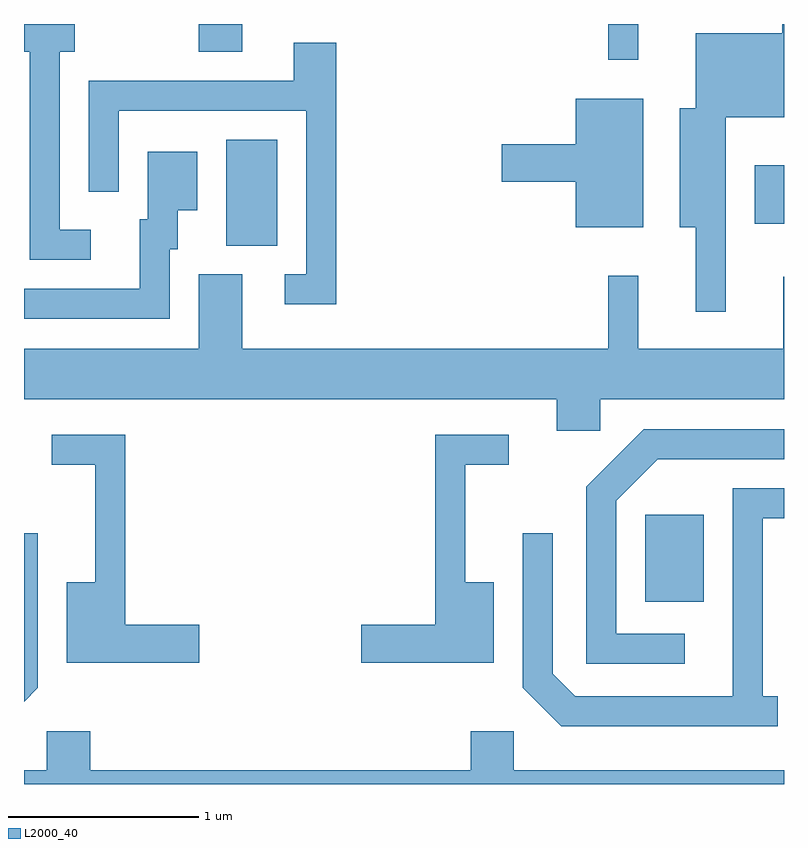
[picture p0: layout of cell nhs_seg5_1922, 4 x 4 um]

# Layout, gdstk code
import gdstk
lib = gdstk.Library(unit=1e-6, precision=1e-09)
def R(c, l, rs):  # rectangles x0, y0, x1, y1
    for r in rs: c.add(gdstk.rectangle(r[:2], r[2:], *l))
def P(c, l, *ps):  # polygons
    for p in ps: c.add(gdstk.Polygon(p, *l))
L2000_40 = (2000, 40)

nhs_seg5_1922 = lib.new_cell('nhs_seg5_1922')
R(nhs_seg5_1922, L2000_40, [(244.881,1489.031,245.189,1489.489), (242.676,1490.906,242.944,1491.464), (245.456,1491.021,245.611,1491.329), (244.686,1491.883,244.844,1492.072), (242.531,1491.926,242.759,1492.072)])
P(nhs_seg5_1922, L2000_40, [(241.963,1490.989),(241.799,1490.989),(241.799,1491.926),(241.878,1491.926),(241.878,1492.072),(241.611,1492.072),(241.611,1491.926),(241.641,1491.926),(241.641,1490.831),(241.963,1490.831)],
  [(245.304,1491.581),(245.611,1491.581),(245.611,1492.072),(245.601,1492.072),(245.601,1492.024),(245.146,1492.024),(245.146,1491.629),(245.061,1491.629),(245.061,1491.001),(245.146,1491.001),(245.146,1490.558),(245.304,1490.558)],
  [(243.254,1491.974),(243.031,1491.974),(243.031,1491.774),(241.951,1491.774),(241.951,1491.188),(242.109,1491.188),(242.109,1491.616),(243.096,1491.616),(243.096,1490.754),(242.983,1490.754),(242.983,1490.596),(243.254,1490.596)],
  [(244.869,1491.679),(244.516,1491.679),(244.516,1491.439),(244.126,1491.439),(244.126,1491.241),(244.516,1491.241),(244.516,1491.001),(244.869,1491.001)],
  [(242.379,1490.886),(242.419,1490.886),(242.419,1491.091),(242.524,1491.091),(242.524,1491.399),(242.261,1491.399),(242.261,1491.044),(242.221,1491.044),(242.221,1490.679),(241.611,1490.679),(241.611,1490.521),(242.379,1490.521)],
  [(244.644,1490.096),(245.611,1490.096),(245.611,1490.743),(245.606,1490.743),(245.606,1490.364),(244.844,1490.364),(244.844,1490.748),(244.686,1490.748),(244.686,1490.364),(242.759,1490.364),(242.759,1490.754),(242.531,1490.754),(242.531,1490.364),(241.611,1490.364),(241.611,1490.096),(244.416,1490.096),(244.416,1489.931),(244.644,1489.931)],
  [(245.088,1488.864),(244.729,1488.864),(244.729,1489.564),(244.947,1489.781),(245.611,1489.781),(245.611,1489.939),(244.874,1489.939),(244.571,1489.637),(244.571,1488.706),(245.088,1488.706)],
  [(242.534,1488.909),(242.144,1488.909),(242.144,1489.909),(241.758,1489.909),(241.758,1489.751),(241.986,1489.751),(241.986,1489.134),(241.836,1489.134),(241.836,1488.711),(242.534,1488.711)],
  [(244.084,1489.134),(243.934,1489.134),(243.934,1489.751),(244.163,1489.751),(244.163,1489.909),(243.776,1489.909),(243.776,1488.909),(243.386,1488.909),(243.386,1488.711),(244.084,1488.711)],
  [(245.578,1488.534),(245.499,1488.534),(245.499,1489.471),(245.611,1489.471),(245.611,1489.629),(245.341,1489.629),(245.341,1488.534),(244.512,1488.534),(244.394,1488.652),(244.394,1489.393),(244.236,1489.393),(244.236,1488.579),(244.439,1488.376),(245.578,1488.376)],
  [(241.684,1488.579),(241.684,1489.393),(241.611,1489.393),(241.611,1488.506)],
  [(245.611,1488.144),(244.189,1488.144),(244.189,1488.349),(243.961,1488.349),(243.961,1488.144),(241.959,1488.144),(241.959,1488.349),(241.731,1488.349),(241.731,1488.144),(241.611,1488.144),(241.611,1488.072),(245.611,1488.072)])

lib.write_gds('nhs_seg5_1922.gds')
